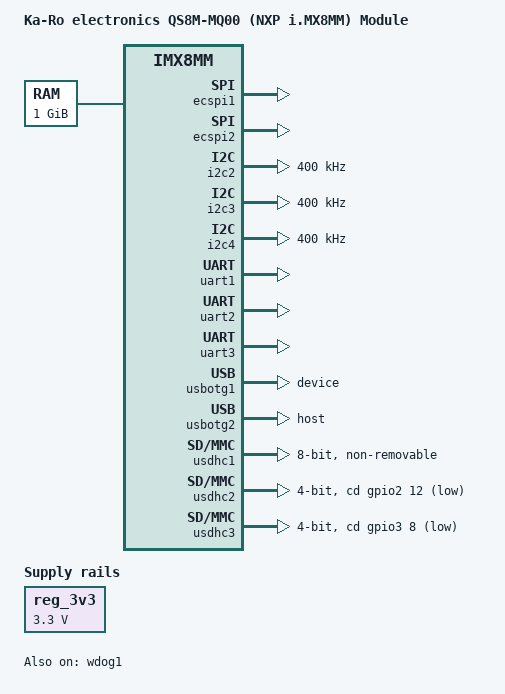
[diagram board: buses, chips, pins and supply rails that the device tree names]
// SPDX-License-Identifier: (GPL-2.0 OR MIT)
/*
 * Copyright (C) 2019 Lothar Waßmann <LW@KARO-electronics.de>
 *
 */

/dts-v1/;

#include "imx8mm.dtsi"
#include <dt-bindings/input/input.h>

/ {
	model = "Ka-Ro electronics QS8M-MQ00 (NXP i.MX8MM) Module";
	compatible = "karo,imx8mm-tx8m", "fsl,imx8mm";

	aliases {
		usb-host = &usbotg2;
		usbotg = &usbotg1;
		i2c0 = &i2c1;
		i2c1 = &i2c2;
		i2c2 = &i2c3;
	};

	chosen {
		bootargs = "console=ttymxc0,115200 earlycon=ec_imx6q,0x30860000,115200";
		stdout-path = &uart1;
	};

	memory@40000000 {
		device_type = "memory";
		reg = <0x0 0x40000000 0 0x40000000>;
	};

	reg_3v3: regulator-3v3 {
		compatible = "regulator-fixed";
		regulator-name = "3V3";
		regulator-min-microvolt = <3300000>;
		regulator-max-microvolt = <3300000>;
		regulator-always-on;
	};
};

&A53_0 {
	/delete-property/ cpu-idle-states;
};

&A53_1 {
	/delete-property/ cpu-idle-states;
};

&A53_2 {
	/delete-property/ cpu-idle-states;
};

&A53_3 {
	/delete-property/ cpu-idle-states;
};

&ecspi1 {
	pinctrl-names = "default";
	pinctrl-0 = <&pinctrl_ecspi1>;
	status = "okay";
};

&ecspi2 {
	pinctrl-names = "default";
	pinctrl-0 = <&pinctrl_ecspi2>;
	status = "okay";
};

&i2c2 {
	pinctrl-names = "default", "gpio";
	pinctrl-0 = <&pinctrl_i2c2>;
	pinctrl-1 = <&pinctrl_i2c2_gpio>;
	clock-frequency = <400000>;
	status = "okay";
};

&i2c3 {
	clock-frequency = <400000>;
	pinctrl-names = "default", "gpio";
	pinctrl-0 = <&pinctrl_i2c3>;
	pinctrl-1 = <&pinctrl_i2c3_gpio>;
	status = "okay";
};

&i2c4 {
	clock-frequency = <400000>;
	pinctrl-names = "default", "gpio";
	pinctrl-0 = <&pinctrl_i2c4>;
	pinctrl-1 = <&pinctrl_i2c4_gpio>;
	status = "okay";
};

&uart1 { /* console */
	pinctrl-names = "default";
	pinctrl-0 = <&pinctrl_uart1>;
	status = "okay";
};

&uart2 {
	pinctrl-names = "default";
	pinctrl-0 = <&pinctrl_uart2 &pinctrl_uart2_rtscts>;
	uart-has-rtscts;
	status = "okay";
};

&uart3 {
	pinctrl-names = "default";
	pinctrl-0 = <&pinctrl_uart3>;
	status = "okay";
};

&usbotg1 {
	dr_mode = "device";
	status = "okay";
};

&usbotg2 {
	dr_mode = "host";
	status = "okay";
};

&usdhc1 { /* eMMC */
	pinctrl-names = "default";
	pinctrl-0 = <&pinctrl_usdhc1>;
	bus-width = <8>;
	no-1-8-v;
	non-removable;
	status = "okay";
};

&usdhc2 {
	pinctrl-names = "default", "state_100mhz", "state_200mhz";
	pinctrl-0 = <&pinctrl_usdhc2 &pinctrl_usdhc2_cd>;
	pinctrl-1 = <&pinctrl_usdhc2_100mhz &pinctrl_usdhc2_cd>;
	pinctrl-2 = <&pinctrl_usdhc2_200mhz &pinctrl_usdhc2_cd>;
	bus-width = <4>;
	cd-gpios = <&gpio2 12 GPIO_ACTIVE_LOW>;
	no-1-8-v;
	fsl,wp-controller;
	status = "okay";
};

&usdhc3 {
	pinctrl-names = "default", "state_100mhz", "state_200mhz";
	pinctrl-0 = <&pinctrl_usdhc3 &pinctrl_usdhc3_cd>;
	pinctrl-1 = <&pinctrl_usdhc3_100mhz &pinctrl_usdhc3_cd>;
	pinctrl-2 = <&pinctrl_usdhc3_200mhz &pinctrl_usdhc3_cd>;
	bus-width = <4>;
	cd-gpios = <&gpio3 8 GPIO_ACTIVE_LOW>;
	no-1-8-v;
	fsl,wp-controller;
	status = "okay";
};

&wdog1 {
	pinctrl-names = "default";
	status = "okay";
};

&iomuxc {
	pinctrl-names = "default";
	pinctrl-0 = <&pinctrl_hog>;

	pinctrl_hog: hoggrp {
		fsl,pins = <
		>;
	};

	pinctrl_ecspi1: ecspi1grp {
		fsl,pins = <
			MX8MM_IOMUXC_ECSPI1_SCLK_ECSPI1_SCLK		0x140
			MX8MM_IOMUXC_ECSPI1_MOSI_ECSPI1_MOSI		0x140
			MX8MM_IOMUXC_ECSPI1_MISO_ECSPI1_MISO		0x140
			MX8MM_IOMUXC_ECSPI1_SS0_GPIO5_IO9		0x140
		>;
	};

	pinctrl_ecspi2: ecspi2grp {
		fsl,pins = <
			MX8MM_IOMUXC_ECSPI2_SCLK_ECSPI2_SCLK		0x140
			MX8MM_IOMUXC_ECSPI2_MOSI_ECSPI2_MOSI		0x140
			MX8MM_IOMUXC_ECSPI2_MISO_ECSPI2_MISO		0x140
			MX8MM_IOMUXC_ECSPI2_SS0_GPIO5_IO13		0x140
		>;
	};

	pinctrl_i2c1: i2c1grp {
		fsl,pins = <
			MX8MM_IOMUXC_I2C1_SCL_I2C1_SCL			0x400001d6
			MX8MM_IOMUXC_I2C1_SDA_I2C1_SDA			0x400001d6
		>;
	};

	pinctrl_i2c1_gpio: i2c1-gpiogrp {
		fsl,pins = <
			MX8MM_IOMUXC_I2C1_SCL_GPIO5_IO14		0x400001d6
			MX8MM_IOMUXC_I2C1_SDA_GPIO5_IO15		0x400001d6
		>;
	};

	pinctrl_i2c2: i2c2grp {
		fsl,pins = <
			MX8MM_IOMUXC_I2C2_SCL_I2C2_SCL			0x400001d6
			MX8MM_IOMUXC_I2C2_SDA_I2C2_SDA			0x400001d6
		>;
	};

	pinctrl_i2c2_gpio: i2c2-gpiogrp {
		fsl,pins = <
			MX8MM_IOMUXC_I2C2_SCL_GPIO5_IO16		0x400001d6
			MX8MM_IOMUXC_I2C2_SDA_GPIO5_IO17		0x400001d6
		>;
	};

	pinctrl_i2c3: i2c3grp {
		fsl,pins = <
			MX8MM_IOMUXC_I2C3_SCL_I2C3_SCL			0x400001d6
			MX8MM_IOMUXC_I2C3_SDA_I2C3_SDA			0x400001d6
		>;
	};

	pinctrl_i2c3_gpio: i2c3-gpiogrp {
		fsl,pins = <
			MX8MM_IOMUXC_I2C3_SCL_GPIO5_IO18		0x400001d6
			MX8MM_IOMUXC_I2C3_SDA_GPIO5_IO19		0x400001d6
		>;
	};

	pinctrl_i2c4: i2c4grp {
		fsl,pins = <
			MX8MM_IOMUXC_I2C4_SCL_I2C4_SCL			0x400001d6
			MX8MM_IOMUXC_I2C4_SDA_I2C4_SDA			0x400001d6
		>;
	};

	pinctrl_i2c4_gpio: i2c4-gpiogrp {
		fsl,pins = <
			MX8MM_IOMUXC_I2C4_SCL_GPIO5_IO20		0x400001d6
			MX8MM_IOMUXC_I2C4_SDA_GPIO5_IO21		0x400001d6
		>;
	};

	pinctrl_pmic: pmicgrp {
		fsl,pins = <
			MX8MM_IOMUXC_GPIO1_IO03_GPIO1_IO3		0x1c0
		>;
	};

	pinctrl_uart1: uart1grp {
		fsl,pins = <
			MX8MM_IOMUXC_UART1_RXD_UART1_DCE_RX		0x140
			MX8MM_IOMUXC_UART1_TXD_UART1_DCE_TX		0x140
		>;
	};

	pinctrl_uart2: uart2grp {
		fsl,pins = <
			MX8MM_IOMUXC_UART2_RXD_UART2_DCE_RX		0x140
			MX8MM_IOMUXC_UART2_TXD_UART2_DCE_TX		0x140
		>;
	};

	pinctrl_uart2_rtscts: uart2-rtsctsgrp {
		fsl,pins = <
			MX8MM_IOMUXC_UART4_TXD_UART2_DCE_RTS_B		0x140
			MX8MM_IOMUXC_UART4_RXD_UART2_DCE_CTS_B		0x140
		>;
	};

	pinctrl_uart3: uart3grp {
		fsl,pins = <
			MX8MM_IOMUXC_UART3_RXD_UART3_DCE_RX		0x140
			MX8MM_IOMUXC_UART3_TXD_UART3_DCE_TX		0x140
		>;
	};

	pinctrl_uart3_rtscts: uart3-rtsctsgrp {
		fsl,pins = <
			MX8MM_IOMUXC_ECSPI1_SS0_UART3_DCE_RTS_B		0x140
			MX8MM_IOMUXC_ECSPI1_MISO_UART3_DCE_CTS_B	0x140
		>;
	};

	pinctrl_usdhc1: usdhc1grp {
		fsl,pins = <
			MX8MM_IOMUXC_SD1_CLK_USDHC1_CLK			0x190
			MX8MM_IOMUXC_SD1_CMD_USDHC1_CMD			0x1d0
			MX8MM_IOMUXC_SD1_DATA0_USDHC1_DATA0		0x1d0
			MX8MM_IOMUXC_SD1_DATA1_USDHC1_DATA1		0x1d0
			MX8MM_IOMUXC_SD1_DATA2_USDHC1_DATA2		0x1d0
			MX8MM_IOMUXC_SD1_DATA3_USDHC1_DATA3		0x1d0
			MX8MM_IOMUXC_SD1_DATA4_USDHC1_DATA4		0x1d0
			MX8MM_IOMUXC_SD1_DATA5_USDHC1_DATA5		0x1d0
			MX8MM_IOMUXC_SD1_DATA6_USDHC1_DATA6		0x1d0
			MX8MM_IOMUXC_SD1_DATA7_USDHC1_DATA7		0x1d0
			MX8MM_IOMUXC_SD1_STROBE_USDHC1_STROBE		0x156
			MX8MM_IOMUXC_SD1_RESET_B_USDHC1_RESET_B		0x156
		>;
	};

	pinctrl_usdhc2: usdhc2grp {
		fsl,pins = <
			MX8MM_IOMUXC_SD2_CLK_USDHC2_CLK			0x190
			MX8MM_IOMUXC_SD2_CMD_USDHC2_CMD			0x1d0
			MX8MM_IOMUXC_SD2_DATA0_USDHC2_DATA0		0x1d0
			MX8MM_IOMUXC_SD2_DATA1_USDHC2_DATA1		0x1d0
			MX8MM_IOMUXC_SD2_DATA2_USDHC2_DATA2		0x1d0
			MX8MM_IOMUXC_SD2_DATA3_USDHC2_DATA3		0x1d0
		>;
	};

	pinctrl_usdhc2_100mhz: usdhc2grp100mhz {
		fsl,pins = <
			MX8MM_IOMUXC_SD2_CLK_USDHC2_CLK			0x194
			MX8MM_IOMUXC_SD2_CMD_USDHC2_CMD			0x1d4
			MX8MM_IOMUXC_SD2_DATA0_USDHC2_DATA0		0x1d4
			MX8MM_IOMUXC_SD2_DATA1_USDHC2_DATA1		0x1d4
			MX8MM_IOMUXC_SD2_DATA2_USDHC2_DATA2		0x1d4
			MX8MM_IOMUXC_SD2_DATA3_USDHC2_DATA3		0x1d4
		>;
	};

	pinctrl_usdhc2_200mhz: usdhc2grp200mhz {
		fsl,pins = <
			MX8MM_IOMUXC_SD2_CLK_USDHC2_CLK			0x196
			MX8MM_IOMUXC_SD2_CMD_USDHC2_CMD			0x1d6
			MX8MM_IOMUXC_SD2_DATA0_USDHC2_DATA0		0x1d6
			MX8MM_IOMUXC_SD2_DATA1_USDHC2_DATA1		0x1d6
			MX8MM_IOMUXC_SD2_DATA2_USDHC2_DATA2		0x1d6
			MX8MM_IOMUXC_SD2_DATA3_USDHC2_DATA3		0x1d6
		>;
	};

	pinctrl_usdhc2_cd: usdhc2-cdgrp {
		fsl,pins = <
			MX8MM_IOMUXC_SD2_CD_B_GPIO2_IO12		0x1c0
		>;
	};

	pinctrl_usdhc3: usdhc3grp {
		fsl,pins = <
			/*
			 * Erratum e11341: SION must be asserted on NAND_WE_B
			 * when used as SDHC3_CLK
			 */
			MX8MM_IOMUXC_NAND_WE_B_USDHC3_CLK		0x40000190
			MX8MM_IOMUXC_NAND_WP_B_USDHC3_CMD		0x1d0
			MX8MM_IOMUXC_NAND_DATA04_USDHC3_DATA0		0x1d0
			MX8MM_IOMUXC_NAND_DATA05_USDHC3_DATA1		0x1d0
			MX8MM_IOMUXC_NAND_DATA06_USDHC3_DATA2		0x1d0
			MX8MM_IOMUXC_NAND_DATA07_USDHC3_DATA3		0x1d0
		>;
	};

	pinctrl_usdhc3_100mhz: usdhc3grp100mhz {
		fsl,pins = <
			MX8MM_IOMUXC_NAND_WE_B_USDHC3_CLK		0x40000194
			MX8MM_IOMUXC_NAND_WP_B_USDHC3_CMD		0x1d4
			MX8MM_IOMUXC_NAND_DATA04_USDHC3_DATA0		0x1d4
			MX8MM_IOMUXC_NAND_DATA05_USDHC3_DATA1		0x1d4
			MX8MM_IOMUXC_NAND_DATA06_USDHC3_DATA2		0x1d4
			MX8MM_IOMUXC_NAND_DATA07_USDHC3_DATA3		0x1d4
		>;
	};

	pinctrl_usdhc3_200mhz: usdhc3grp200mhz {
		fsl,pins = <
			MX8MM_IOMUXC_NAND_WE_B_USDHC3_CLK		0x40000196
			MX8MM_IOMUXC_NAND_WP_B_USDHC3_CMD		0x1d6
			MX8MM_IOMUXC_NAND_DATA04_USDHC3_DATA0		0x1d6
			MX8MM_IOMUXC_NAND_DATA05_USDHC3_DATA1		0x1d6
			MX8MM_IOMUXC_NAND_DATA06_USDHC3_DATA2		0x1d6
			MX8MM_IOMUXC_NAND_DATA07_USDHC3_DATA3		0x1d6
		>;
	};

	pinctrl_usdhc3_cd: usdhc3-cdgrp {
		fsl,pins = <
			MX8MM_IOMUXC_NAND_DATA02_GPIO3_IO8		0x1c0
		>;
	};
};
